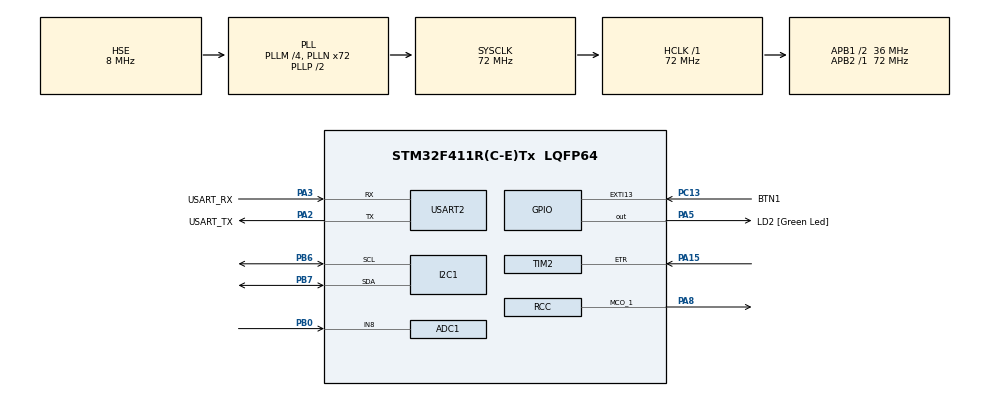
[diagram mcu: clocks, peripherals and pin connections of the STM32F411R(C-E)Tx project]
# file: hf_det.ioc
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ADC1.Channel-3\#ChannelRegularConversion=ADC_CHANNEL_8
ADC1.NbrOfConversionFlag=1
ADC1.Rank-3\#ChannelRegularConversion=1
ADC1.SamplingTime-3\#ChannelRegularConversion=ADC_SAMPLETIME_15CYCLES
ADC1.master=1
Dma.ADC1.2.Direction=DMA_PERIPH_TO_MEMORY
Dma.ADC1.2.FIFOMode=DMA_FIFOMODE_DISABLE
Dma.ADC1.2.Instance=DMA2_Stream0
Dma.ADC1.2.MemDataAlignment=DMA_MDATAALIGN_HALFWORD
Dma.ADC1.2.MemInc=DMA_MINC_ENABLE
Dma.ADC1.2.Mode=DMA_NORMAL
Dma.ADC1.2.PeriphDataAlignment=DMA_PDATAALIGN_HALFWORD
Dma.ADC1.2.PeriphInc=DMA_PINC_DISABLE
Dma.ADC1.2.Priority=DMA_PRIORITY_LOW
Dma.Request0=USART2_RX
Dma.Request1=USART2_TX
Dma.Request2=ADC1
Dma.USART2_RX.0.Direction=DMA_PERIPH_TO_MEMORY
Dma.USART2_RX.0.FIFOMode=DMA_FIFOMODE_DISABLE
Dma.USART2_RX.0.Instance=DMA1_Stream5
Dma.USART2_RX.0.MemDataAlignment=DMA_MDATAALIGN_BYTE
Dma.USART2_RX.0.MemInc=DMA_MINC_ENABLE
Dma.USART2_RX.0.Mode=DMA_NORMAL
Dma.USART2_RX.0.PeriphDataAlignment=DMA_PDATAALIGN_BYTE
Dma.USART2_RX.0.PeriphInc=DMA_PINC_DISABLE
Dma.USART2_RX.0.Priority=DMA_PRIORITY_LOW
Dma.USART2_TX.1.Direction=DMA_MEMORY_TO_PERIPH
Dma.USART2_TX.1.FIFOMode=DMA_FIFOMODE_DISABLE
Dma.USART2_TX.1.Instance=DMA1_Stream6
Dma.USART2_TX.1.MemDataAlignment=DMA_MDATAALIGN_BYTE
Dma.USART2_TX.1.MemInc=DMA_MINC_ENABLE
Dma.USART2_TX.1.Mode=DMA_NORMAL
Dma.USART2_TX.1.PeriphDataAlignment=DMA_PDATAALIGN_BYTE
Dma.USART2_TX.1.PeriphInc=DMA_PINC_DISABLE
Dma.USART2_TX.1.Priority=DMA_PRIORITY_LOW
I2C1.I2C_Mode=I2C_Standard
Mcu.Family=STM32F4
Mcu.Name=STM32F411R(C-E)Tx
Mcu.Package=LQFP64
NVIC.DMA1_Stream5_IRQn=true\:0\:0\:false\:false\:true\:false\:true
NVIC.DMA1_Stream6_IRQn=true\:0\:0\:false\:false\:true\:false\:true
NVIC.DMA2_Stream0_IRQn=true\:0\:0\:false\:false\:true\:false\:true
NVIC.EXTI15_10_IRQn=true\:0\:0\:false\:false\:true\:true\:true
NVIC.PriorityGroup=NVIC_PRIORITYGROUP_0
NVIC.TIM1_UP_TIM10_IRQn=true\:0\:0\:false\:false\:true\:true\:true
NVIC.TIM3_IRQn=true\:0\:0\:false\:false\:true\:true\:true
NVIC.USART2_IRQn=true\:0\:0\:false\:false\:true\:true\:true
PA13.GPIO_Label=TMS
PA13.Mode=Serial_Wire
PA13.Signal=SYS_JTMS-SWDIO
PA14.Mode=Serial_Wire
PA14.Signal=SYS_JTCK-SWCLK
PA15.Signal=S_TIM2_CH1_ETR
PA2.GPIO_Label=USART_TX
PA2.Mode=Asynchronous
PA2.Signal=USART2_TX
PA3.GPIO_Label=USART_RX
PA3.Mode=Asynchronous
PA3.Signal=USART2_RX
PA5.GPIO_Label=LD2 [Green Led]
PA5.Signal=GPIO_Output
PA8.GPIO_Speed=GPIO_SPEED_FREQ_VERY_HIGH
PA8.Mode=Clock-out-1
PA8.Signal=RCC_MCO_1
PB0.Signal=ADCx_IN8
PB3.GPIO_Label=SWO
PB3.Signal=SYS_JTDO-SWO
PB6.Mode=I2C
PB6.Signal=I2C1_SCL
PB7.Mode=I2C
PB7.Signal=I2C1_SDA
PC13-ANTI_TAMP.GPIO_Label=BTN1
PC13-ANTI_TAMP.GPIO_PuPd=GPIO_PULLDOWN
PC13-ANTI_TAMP.Signal=GPXTI13
PC14-OSC32_IN.Signal=RCC_OSC32_IN
PC15-OSC32_OUT.Signal=RCC_OSC32_OUT
PH0\ -\ OSC_IN.Mode=HSE-External-Oscillator
PH0\ -\ OSC_IN.Signal=RCC_OSC_IN
PH1\ -\ OSC_OUT.Mode=HSE-External-Oscillator
PH1\ -\ OSC_OUT.Signal=RCC_OSC_OUT
ProjectManager.HeapSize=0x200
ProjectManager.StackSize=0x400
ProjectManager.TargetToolchain=TrueSTUDIO
RCC.48MHZClocksFreq_Value=36000000
RCC.AHBFreq_Value=72000000
RCC.APB1CLKDivider=RCC_HCLK_DIV2
RCC.APB1Freq_Value=36000000
RCC.APB1TimFreq_Value=72000000
RCC.APB2Freq_Value=72000000
RCC.APB2TimFreq_Value=72000000
RCC.CortexFreq_Value=72000000
RCC.FLatency-AdvancedSettings=FLASH_LATENCY_2
RCC.HCLKFreq_Value=72000000
RCC.HSE_VALUE=8000000
RCC.HSI_VALUE=16000000
RCC.PLLM=4
RCC.PLLN=72
RCC.PLLSourceVirtual=RCC_PLLSOURCE_HSE
RCC.RCC_MCO1Source=RCC_MCO1SOURCE_HSE
RCC.SYSCLKFreq_VALUE=72000000
RCC.SYSCLKSource=RCC_SYSCLKSOURCE_PLLCLK
RCC.VCOOutputFreq_Value=144000000
SH.ADCx_IN8.0=ADC1_IN8,IN8
SH.S_TIM2_CH1_ETR.0=TIM2_ETR,ClockSourceETR_Mode2
TIM1.Period=63999
TIM1.Prescaler=1124
TIM2.ClockPrescaler=TIM_CLOCKPRESCALER_DIV1
TIM2.CounterMode=TIM_COUNTERMODE_UP
TIM2.Period=4294967295
TIM2.Prescaler=0
TIM2.TIM_MasterOutputTrigger=TIM_TRGO_UPDATE
TIM2.TIM_MasterSlaveMode=TIM_MASTERSLAVEMODE_ENABLE
TIM3.CounterMode=TIM_COUNTERMODE_DOWN
TIM3.Period=9999
TIM3.Prescaler=7199
TIM3.TIM_MasterOutputTrigger=TIM_TRGO_ENABLE
TIM3.TIM_MasterSlaveMode=TIM_MASTERSLAVEMODE_ENABLE
USART2.VirtualMode=VM_ASYNC
VP_TIM1_VS_ClockSourceINT.Mode=Internal
VP_TIM2_VS_ClockSourceITR.Mode=TriggerSource_ITR2
VP_TIM2_VS_ControllerModeGated.Mode=Gated Mode
VP_TIM3_VS_ClockSourceINT.Mode=Internal
VP_TIM3_VS_OPM.Mode=OPM_bit
board=NUCLEO-F411RE

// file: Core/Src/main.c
/* USER CODE BEGIN Header */
/**
  ******************************************************************************
  * @file           : main.c
  * @brief          : Main program body
  ******************************************************************************
  * @attention
  *
  * <h2><center>&copy; Copyright (c) 2021 STMicroelectronics.
  * All rights reserved.</center></h2>
  *
  * This software component is licensed by ST under BSD 3-Clause license,
  * the "License"; You may not use this file except in compliance with the
  * License. You may obtain a copy of the License at:
  *                        opensource.org/licenses/BSD-3-Clause
  *
  ******************************************************************************
  */
/* USER CODE END Header */
#include "main.h"

/* USER CODE BEGIN Includes */
#include "lcd-i2c.h"
/* USER CODE END Includes */

/* USER CODE BEGIN PD */
#define UART_BUFF_SIZE 10
#define ADC_DATA_SIZE 60
/* USER CODE END PD */

ADC_HandleTypeDef hadc1;
DMA_HandleTypeDef hdma_adc1;

I2C_HandleTypeDef hi2c1;

TIM_HandleTypeDef htim1;
TIM_HandleTypeDef htim2;
TIM_HandleTypeDef htim3;

UART_HandleTypeDef huart2;
DMA_HandleTypeDef hdma_usart2_rx;
DMA_HandleTypeDef hdma_usart2_tx;

void SystemClock_Config(void);
static void MX_GPIO_Init(void);
static void MX_DMA_Init(void);
static void MX_ADC1_Init(void);
static void MX_USART2_UART_Init(void);
static void MX_I2C1_Init(void);
static void MX_TIM2_Init(void);
static void MX_TIM3_Init(void);
static void MX_TIM1_Init(void);

/* USER CODE BEGIN 0 */
volatile uint16_t adc = 0;
volatile uint8_t flag_adc = 0;
volatile uint8_t flag_timer = 0;
volatile uint8_t flag_btn = 0;
uint8_t UART_receive_buff[UART_BUFF_SIZE];
uint8_t Unprocessed_UART_buff_detected;
uint16_t adc_data[ADC_DATA_SIZE];
char adc_ch[4];
uint16_t iterator = 0;

void processUART(uint8_t *command_buff) {
	uint8_t command_check[] = {'G','e','t',' ','d','a','t','a'};
	uint16_t check_sum = 0;
	for(uint8_t i=0; i<8; i++) {
		if(command_buff[i] == command_check[i]) {
			check_sum++;
		} else {
			break;
		}
	}

	if(check_sum == 8) {
		//send data to pc
		for(uint16_t i = 0; i < ADC_DATA_SIZE; i++) {
			uint16_t buff = adc_data[i];
			char buff_ch[5];
			itoa(buff,buff_ch,10);
			buff_ch[4] = ',';
 			HAL_UART_Transmit(&huart2, buff_ch, 5,50);
		}
	}
}
/* USER CODE END 0 */

int main(void)
{

  /* MCU Configuration--------------------------------------------------------*/

  /* Reset of all peripherals, Initializes the Flash interface and the Systick. */
  HAL_Init();

  /* Configure the system clock */
  SystemClock_Config();

  /* Initialize all configured peripherals */
  MX_GPIO_Init();
  MX_DMA_Init();
  MX_ADC1_Init();
  MX_USART2_UART_Init();
  MX_I2C1_Init();
  MX_TIM2_Init();
  MX_TIM3_Init();
  MX_TIM1_Init();
  /* USER CODE BEGIN 2 */
  lcd_init();
  lcd_send_string("Press button");
  HAL_ADC_Start_DMA(&hadc1, (uint32_t*)&adc, 1); //start adc
  //HAL_TIM_Base_Start_IT(&htim3);
  //HAL_TIM_Base_Start(&htim2);
  /* USER CODE END 2 */

  /* Infinite loop */
  while (1)
  {

    /* USER CODE BEGIN 3 */
	  if(flag_btn == 1) {
		  flag_btn = 0;
		  HAL_TIM_Base_Start_IT(&htim1);
	  }

 	  __HAL_UART_ENABLE_IT(&huart2, UART_IT_IDLE);
	  HAL_UART_Receive_DMA(&huart2, UART_receive_buff, UART_BUFF_SIZE-1);
  }
  /* USER CODE END 3 */
}

void SystemClock_Config(void)
{
  RCC_OscInitTypeDef RCC_OscInitStruct = {0};
  RCC_ClkInitTypeDef RCC_ClkInitStruct = {0};

  /** Configure the main internal regulator output voltage
  */
  __HAL_RCC_PWR_CLK_ENABLE();
  __HAL_PWR_VOLTAGESCALING_CONFIG(PWR_REGULATOR_VOLTAGE_SCALE1);
  /** Initializes the RCC Oscillators according to the specified parameters
  * in the RCC_OscInitTypeDef structure.
  */
  RCC_OscInitStruct.OscillatorType = RCC_OSCILLATORTYPE_HSE;
  RCC_OscInitStruct.HSEState = RCC_HSE_ON;
  RCC_OscInitStruct.PLL.PLLState = RCC_PLL_ON;
  RCC_OscInitStruct.PLL.PLLSource = RCC_PLLSOURCE_HSE;
  RCC_OscInitStruct.PLL.PLLM = 4;
  RCC_OscInitStruct.PLL.PLLN = 72;
  RCC_OscInitStruct.PLL.PLLP = RCC_PLLP_DIV2;
  RCC_OscInitStruct.PLL.PLLQ = 4;
  if (HAL_RCC_OscConfig(&RCC_OscInitStruct) != HAL_OK)
  {
    Error_Handler();
  }
  /** Initializes the CPU, AHB and APB buses clocks
  */
  RCC_ClkInitStruct.ClockType = RCC_CLOCKTYPE_HCLK|RCC_CLOCKTYPE_SYSCLK
                              |RCC_CLOCKTYPE_PCLK1|RCC_CLOCKTYPE_PCLK2;
  RCC_ClkInitStruct.SYSCLKSource = RCC_SYSCLKSOURCE_PLLCLK;
  RCC_ClkInitStruct.AHBCLKDivider = RCC_SYSCLK_DIV1;
  RCC_ClkInitStruct.APB1CLKDivider = RCC_HCLK_DIV2;
  RCC_ClkInitStruct.APB2CLKDivider = RCC_HCLK_DIV1;

  if (HAL_RCC_ClockConfig(&RCC_ClkInitStruct, FLASH_LATENCY_2) != HAL_OK)
  {
    Error_Handler();
  }
  HAL_RCC_MCOConfig(RCC_MCO1, RCC_MCO1SOURCE_HSE, RCC_MCODIV_1);
}

static void MX_ADC1_Init(void)
{

  ADC_ChannelConfTypeDef sConfig = {0};

  /** Configure the global features of the ADC (Clock, Resolution, Data Alignment and number of conversion)
  */
  hadc1.Instance = ADC1;
  hadc1.Init.ClockPrescaler = ADC_CLOCK_SYNC_PCLK_DIV2;
  hadc1.Init.Resolution = ADC_RESOLUTION_12B;
  hadc1.Init.ScanConvMode = DISABLE;
  hadc1.Init.ContinuousConvMode = DISABLE;
  hadc1.Init.DiscontinuousConvMode = DISABLE;
  hadc1.Init.ExternalTrigConvEdge = ADC_EXTERNALTRIGCONVEDGE_NONE;
  hadc1.Init.ExternalTrigConv = ADC_SOFTWARE_START;
  hadc1.Init.DataAlign = ADC_DATAALIGN_RIGHT;
  hadc1.Init.NbrOfConversion = 1;
  hadc1.Init.DMAContinuousRequests = DISABLE;
  hadc1.Init.EOCSelection = ADC_EOC_SINGLE_CONV;
  if (HAL_ADC_Init(&hadc1) != HAL_OK)
  {
    Error_Handler();
  }
  /** Configure for the selected ADC regular channel its corresponding rank in the sequencer and its sample time.
  */
  sConfig.Channel = ADC_CHANNEL_8;
  sConfig.Rank = 1;
  sConfig.SamplingTime = ADC_SAMPLETIME_15CYCLES;
  if (HAL_ADC_ConfigChannel(&hadc1, &sConfig) != HAL_OK)
  {
    Error_Handler();
  }

}

static void MX_I2C1_Init(void)
{

  hi2c1.Instance = I2C1;
  hi2c1.Init.ClockSpeed = 100000;
  hi2c1.Init.DutyCycle = I2C_DUTYCYCLE_2;
  hi2c1.Init.OwnAddress1 = 0;
  hi2c1.Init.AddressingMode = I2C_ADDRESSINGMODE_7BIT;
  hi2c1.Init.DualAddressMode = I2C_DUALADDRESS_DISABLE;
  hi2c1.Init.OwnAddress2 = 0;
  hi2c1.Init.GeneralCallMode = I2C_GENERALCALL_DISABLE;
  hi2c1.Init.NoStretchMode = I2C_NOSTRETCH_DISABLE;
  if (HAL_I2C_Init(&hi2c1) != HAL_OK)
  {
    Error_Handler();
  }

}

static void MX_TIM1_Init(void)
{

  TIM_ClockConfigTypeDef sClockSourceConfig = {0};
  TIM_MasterConfigTypeDef sMasterConfig = {0};

  htim1.Instance = TIM1;
  htim1.Init.Prescaler = 1124;
  htim1.Init.CounterMode = TIM_COUNTERMODE_UP;
  htim1.Init.Period = 63999;
  htim1.Init.ClockDivision = TIM_CLOCKDIVISION_DIV1;
  htim1.Init.RepetitionCounter = 0;
  htim1.Init.AutoReloadPreload = TIM_AUTORELOAD_PRELOAD_DISABLE;
  if (HAL_TIM_Base_Init(&htim1) != HAL_OK)
  {
    Error_Handler();
  }
  sClockSourceConfig.ClockSource = TIM_CLOCKSOURCE_INTERNAL;
  if (HAL_TIM_ConfigClockSource(&htim1, &sClockSourceConfig) != HAL_OK)
  {
    Error_Handler();
  }
  sMasterConfig.MasterOutputTrigger = TIM_TRGO_RESET;
  sMasterConfig.MasterSlaveMode = TIM_MASTERSLAVEMODE_DISABLE;
  if (HAL_TIMEx_MasterConfigSynchronization(&htim1, &sMasterConfig) != HAL_OK)
  {
    Error_Handler();
  }

}

static void MX_TIM2_Init(void)
{

  TIM_ClockConfigTypeDef sClockSourceConfig = {0};
  TIM_SlaveConfigTypeDef sSlaveConfig = {0};
  TIM_MasterConfigTypeDef sMasterConfig = {0};

  htim2.Instance = TIM2;
  htim2.Init.Prescaler = 0;
  htim2.Init.CounterMode = TIM_COUNTERMODE_UP;
  htim2.Init.Period = 4294967295;
  htim2.Init.ClockDivision = TIM_CLOCKDIVISION_DIV1;
  htim2.Init.AutoReloadPreload = TIM_AUTORELOAD_PRELOAD_DISABLE;
  if (HAL_TIM_Base_Init(&htim2) != HAL_OK)
  {
    Error_Handler();
  }
  sClockSourceConfig.ClockSource = TIM_CLOCKSOURCE_ETRMODE2;
  sClockSourceConfig.ClockPolarity = TIM_CLOCKPOLARITY_NONINVERTED;
  sClockSourceConfig.ClockPrescaler = TIM_CLOCKPRESCALER_DIV1;
  sClockSourceConfig.ClockFilter = 0;
  if (HAL_TIM_ConfigClockSource(&htim2, &sClockSourceConfig) != HAL_OK)
  {
    Error_Handler();
  }
  sSlaveConfig.SlaveMode = TIM_SLAVEMODE_GATED;
  sSlaveConfig.InputTrigger = TIM_TS_ITR2;
  if (HAL_TIM_SlaveConfigSynchro(&htim2, &sSlaveConfig) != HAL_OK)
  {
    Error_Handler();
  }
  sMasterConfig.MasterOutputTrigger = TIM_TRGO_UPDATE;
  sMasterConfig.MasterSlaveMode = TIM_MASTERSLAVEMODE_ENABLE;
  if (HAL_TIMEx_MasterConfigSynchronization(&htim2, &sMasterConfig) != HAL_OK)
  {
    Error_Handler();
  }

}

static void MX_TIM3_Init(void)
{

  TIM_ClockConfigTypeDef sClockSourceConfig = {0};
  TIM_MasterConfigTypeDef sMasterConfig = {0};

  htim3.Instance = TIM3;
  htim3.Init.Prescaler = 7199;
  htim3.Init.CounterMode = TIM_COUNTERMODE_DOWN;
  htim3.Init.Period = 9999;
  htim3.Init.ClockDivision = TIM_CLOCKDIVISION_DIV1;
  htim3.Init.AutoReloadPreload = TIM_AUTORELOAD_PRELOAD_DISABLE;
  if (HAL_TIM_Base_Init(&htim3) != HAL_OK)
  {
    Error_Handler();
  }
  sClockSourceConfig.ClockSource = TIM_CLOCKSOURCE_INTERNAL;
  if (HAL_TIM_ConfigClockSource(&htim3, &sClockSourceConfig) != HAL_OK)
  {
    Error_Handler();
  }
  if (HAL_TIM_OnePulse_Init(&htim3, TIM_OPMODE_SINGLE) != HAL_OK)
  {
    Error_Handler();
  }
  sMasterConfig.MasterOutputTrigger = TIM_TRGO_ENABLE;
  sMasterConfig.MasterSlaveMode = TIM_MASTERSLAVEMODE_ENABLE;
  if (HAL_TIMEx_MasterConfigSynchronization(&htim3, &sMasterConfig) != HAL_OK)
  {
    Error_Handler();
  }

}

static void MX_USART2_UART_Init(void)
{

  huart2.Instance = USART2;
  huart2.Init.BaudRate = 115200;
  huart2.Init.WordLength = UART_WORDLENGTH_8B;
  huart2.Init.StopBits = UART_STOPBITS_1;
  huart2.Init.Parity = UART_PARITY_NONE;
  huart2.Init.Mode = UART_MODE_TX_RX;
  huart2.Init.HwFlowCtl = UART_HWCONTROL_NONE;
  huart2.Init.OverSampling = UART_OVERSAMPLING_16;
  if (HAL_UART_Init(&huart2) != HAL_OK)
  {
    Error_Handler();
  }

}

static void MX_DMA_Init(void)
{

  /* DMA controller clock enable */
  __HAL_RCC_DMA1_CLK_ENABLE();
  __HAL_RCC_DMA2_CLK_ENABLE();

  /* DMA interrupt init */
  /* DMA1_Stream5_IRQn interrupt configuration */
  HAL_NVIC_SetPriority(DMA1_Stream5_IRQn, 0, 0);
  HAL_NVIC_EnableIRQ(DMA1_Stream5_IRQn);
  /* DMA1_Stream6_IRQn interrupt configuration */
  HAL_NVIC_SetPriority(DMA1_Stream6_IRQn, 0, 0);
  HAL_NVIC_EnableIRQ(DMA1_Stream6_IRQn);
  /* DMA2_Stream0_IRQn interrupt configuration */
  HAL_NVIC_SetPriority(DMA2_Stream0_IRQn, 0, 0);
  HAL_NVIC_EnableIRQ(DMA2_Stream0_IRQn);

}

static void MX_GPIO_Init(void)
{
  GPIO_InitTypeDef GPIO_InitStruct = {0};

  /* GPIO Ports Clock Enable */
  __HAL_RCC_GPIOC_CLK_ENABLE();
  __HAL_RCC_GPIOH_CLK_ENABLE();
  __HAL_RCC_GPIOA_CLK_ENABLE();
  __HAL_RCC_GPIOB_CLK_ENABLE();

  /*Configure GPIO pin Output Level */
  HAL_GPIO_WritePin(LD2_GPIO_Port, LD2_Pin, GPIO_PIN_RESET);

  /*Configure GPIO pin : BTN1_Pin */
  GPIO_InitStruct.Pin = BTN1_Pin;
  GPIO_InitStruct.Mode = GPIO_MODE_IT_RISING;
  GPIO_InitStruct.Pull = GPIO_PULLDOWN;
  HAL_GPIO_Init(BTN1_GPIO_Port, &GPIO_InitStruct);

  /*Configure GPIO pin : LD2_Pin */
  GPIO_InitStruct.Pin = LD2_Pin;
  GPIO_InitStruct.Mode = GPIO_MODE_OUTPUT_PP;
  GPIO_InitStruct.Pull = GPIO_NOPULL;
  GPIO_InitStruct.Speed = GPIO_SPEED_FREQ_LOW;
  HAL_GPIO_Init(LD2_GPIO_Port, &GPIO_InitStruct);

  /*Configure GPIO pin : PA8 */
  GPIO_InitStruct.Pin = GPIO_PIN_8;
  GPIO_InitStruct.Mode = GPIO_MODE_AF_PP;
  GPIO_InitStruct.Pull = GPIO_NOPULL;
  GPIO_InitStruct.Speed = GPIO_SPEED_FREQ_VERY_HIGH;
  GPIO_InitStruct.Alternate = GPIO_AF0_MCO;
  HAL_GPIO_Init(GPIOA, &GPIO_InitStruct);

  /* EXTI interrupt init*/
  HAL_NVIC_SetPriority(EXTI15_10_IRQn, 0, 0);
  HAL_NVIC_EnableIRQ(EXTI15_10_IRQn);

}

/* USER CODE BEGIN 4 */
void HAL_ADC_ConvCpltCallback(ADC_HandleTypeDef* hadc) {
	if(hadc->Instance == ADC1) {
		flag_adc = 1;
	}
}

void USER_UART_IRQHandler(UART_HandleTypeDef *huart)
{
  if(huart->Instance == USART2)                                   //Determine whether it is serial port 1
    {
        if(RESET != __HAL_UART_GET_FLAG(huart, UART_FLAG_IDLE))   //Judging whether it is idle interruption
        {
            __HAL_UART_CLEAR_IDLEFLAG(huart);                     //Clear idle interrupt sign (otherwise it will continue to enter interrupt)
            USER_UART_IDLECallback(huart);                          //Call interrupt handler
        }
    }
}

void USER_UART_IDLECallback(UART_HandleTypeDef *huart)
{
    //Stop this DMA transmission
    HAL_UART_DMAStop(huart);
    Unprocessed_UART_buff_detected = SET;
    //Next DMA transmission will be allowed after buffer processing

    processUART(UART_receive_buff); //will be called if receive something from pc terminal, process command of getting data
}

void HAL_TIM_PeriodElapsedCallback(TIM_HandleTypeDef *htim) {
	if(htim->Instance == TIM1) { //check if the interrupt comes from TIM1
		if(iterator < ADC_DATA_SIZE) {
			if(flag_adc == 1) {
			  flag_adc = 0;
			  HAL_ADC_Stop_DMA(&hadc1);
			  adc = 0;
			  HAL_ADC_Start_DMA(&hadc1, (uint32_t*)&adc, 1);

			  for(uint8_t i = 0; i < 4; i++) {
				  adc_ch[i] = '\0';
			  }

			  itoa(adc,adc_ch,10);
			  lcd_clear();
			  lcd_put_cur(0,0);
			  lcd_send_string(adc_ch);

			  adc_data[iterator] = adc;
			  iterator++;
		   }
		} else {
			iterator = 0;
			HAL_TIM_Base_Stop_IT(&htim1);
			lcd_clear();
			lcd_put_cur(0,0);
			lcd_send_string("Measurement stopped");
		}
	}

    if(htim == &htim3)
    {
		uint32_t freq = __HAL_TIM_GET_COUNTER(&htim2); // значение в счётчике таймера №2

		char str[96] = {0,};

		snprintf(str, 96, "~~~Frequency: %lu Hz\n\n ~~~", freq);
		HAL_UART_Transmit(&huart2, (uint8_t*)str, strlen(str), 1000);

		__HAL_TIM_SET_COUNTER(&htim2, 0x0000);
		HAL_TIM_Base_Start_IT(&htim3);
    }
}

void HAL_GPIO_EXTI_Callback(uint16_t GPIO_Pin) {
	if(GPIO_Pin == BTN1_Pin) {
		//start TIM1 if button were pressed
		flag_btn = 1;
	} else {
		__NOP();
	}
}
/* USER CODE END 4 */

void Error_Handler(void)
{
  __disable_irq();
  while (1)
  {
  }
}

/************************ (C) COPYRIGHT STMicroelectronics *****END OF FILE****/
